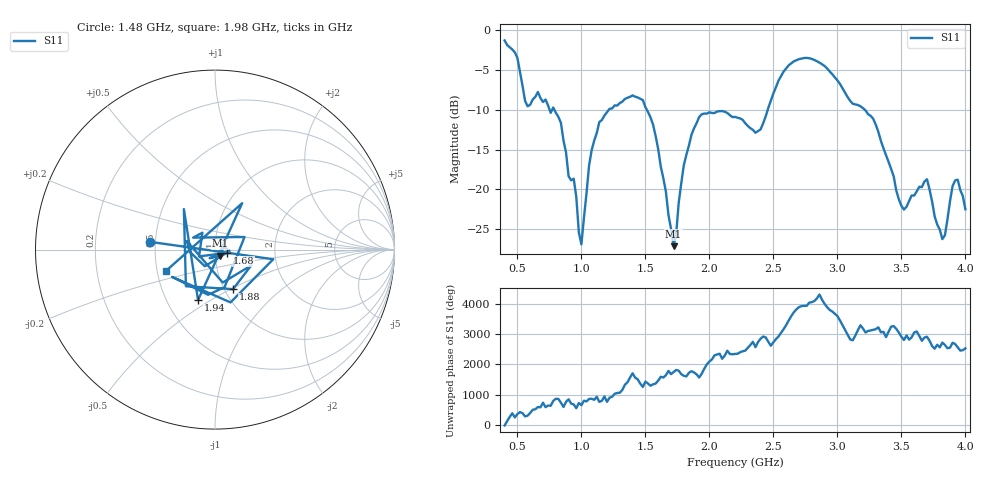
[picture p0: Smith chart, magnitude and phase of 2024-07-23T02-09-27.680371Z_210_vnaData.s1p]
!Created with skrf (http://scikit-rf.org).
# Hz S RI R 50.0
!freq ReS11 ImS11
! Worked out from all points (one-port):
!   181 points, 400 MHz to 4 GHz, reference 50 ohm
!   lowest |S11| = -27.2 dB at 1.72 GHz (marker M1), VSWR 1.09, Z = 52.7 - j3.59 ohm
!   |S11| at or under -10 dB: 789.1 MHz to 1.214 GHz (424.9 MHz wide, 42.4 % of centre); 1.511 GHz to 2.455 GHz (944.2 MHz wide, 47.6 % of centre); 3.215 GHz to end of sweep (the widest 3 of 4)
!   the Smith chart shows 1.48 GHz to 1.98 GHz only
!   S11 on the Smith chart (normalised r, x): 1.48 GHz: 0.47, +0.05; 1.68 GHz: 1.14, -0.04; 1.88 GHz: 1.10, -0.51; 1.94 GHz: 0.71, -0.44; 1.98 GHz: 0.56, -0.15
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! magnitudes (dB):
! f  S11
! 400 MHz  -1.3
! 500 MHz  -3.5
! 580 MHz  -9.6
! 660 MHz  -7.7
! 860 MHz  -13.9
! 940 MHz  -18.7
! 1 GHz  -26.9
! 1.1 GHz  -13.9
! 1.3 GHz  -9.1
! 1.48 GHz  -8.8
! 1.58 GHz  -13.3
! 1.68 GHz  -23.2
! 1.72 GHz  -27.2
! 1.76 GHz  -21.7
! 1.88 GHz  -12.3
! 1.94 GHz  -10.6
! 1.98 GHz  -10.5
! 2.2 GHz  -10.9
! 2.4 GHz  -12.5
! 2.66 GHz  -3.9
! 3.1 GHz  -8.9
! 3.28 GHz  -11.1
! 3.5 GHz  -22.1
! 3.56 GHz  -21.5
! 3.7 GHz  -18.7
! 3.82 GHz  -26.3
! 3.92 GHz  -18.9
! 4 GHz  -22.5
